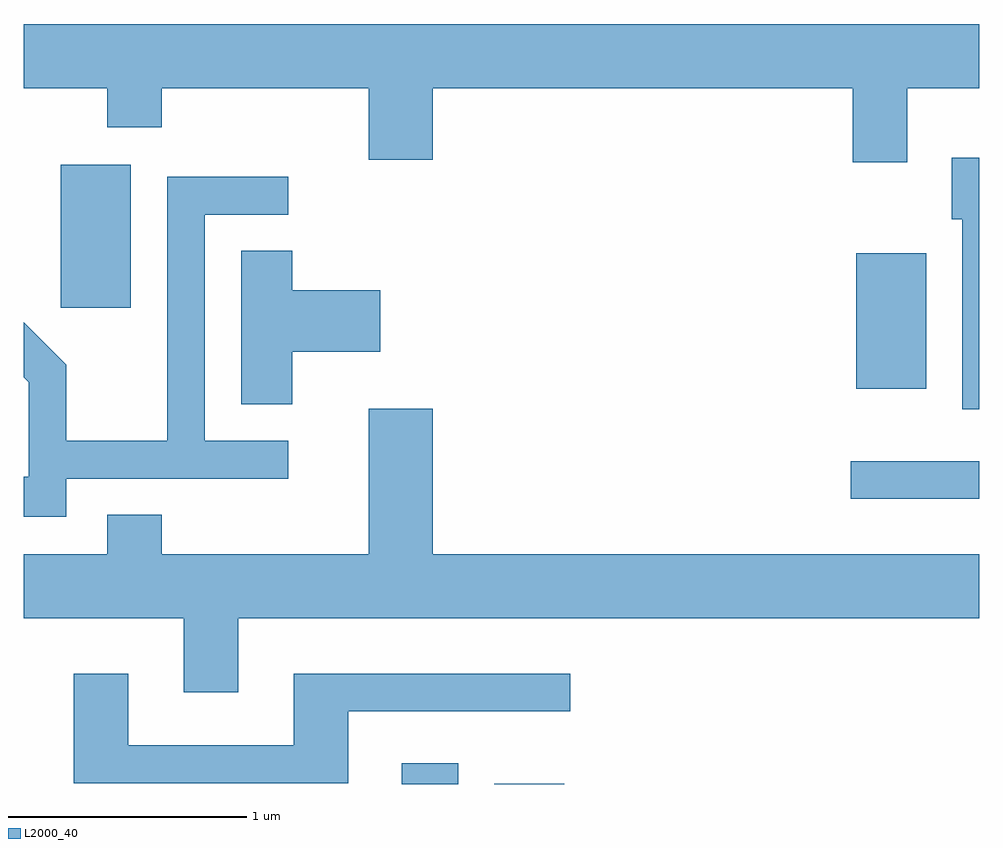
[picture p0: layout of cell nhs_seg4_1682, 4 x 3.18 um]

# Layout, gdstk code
import gdstk
lib = gdstk.Library(unit=1e-6, precision=1e-09)
def R(c, l, rs):  # rectangles x0, y0, x1, y1
    for r in rs: c.add(gdstk.rectangle(r[:2], r[2:], *l))
def P(c, l, *ps):  # polygons
    for p in ps: c.add(gdstk.Polygon(p, *l))
L2000_40 = (2000, 40)

nhs_seg4_1682 = lib.new_cell('nhs_seg4_1682')
R(nhs_seg4_1682, L2000_40, [(235.193,1353.982,235.429,1354.069), (235.581,1353.982,235.874,1353.984), (237.073,1355.176,237.611,1355.334), (237.096,1355.636,237.389,1356.204), (233.766,1355.976,234.059,1356.574)])
P(nhs_seg4_1682, L2000_40, [(237.309,1356.896),(237.611,1356.896),(237.611,1357.164),(233.611,1357.164),(233.611,1356.896),(233.961,1356.896),(233.961,1356.731),(234.189,1356.731),(234.189,1356.896),(235.056,1356.896),(235.056,1356.596),(235.324,1356.596),(235.324,1356.896),(237.081,1356.896),(237.081,1356.586),(237.309,1356.586)],
  [(237.611,1356.604),(237.496,1356.604),(237.496,1356.346),(237.541,1356.346),(237.541,1355.551),(237.611,1355.551)],
  [(233.789,1355.261),(234.718,1355.261),(234.718,1355.419),(234.369,1355.419),(234.369,1356.366),(234.718,1356.366),(234.718,1356.524),(234.211,1356.524),(234.211,1355.419),(233.789,1355.419),(233.789,1355.737),(233.611,1355.915),(233.611,1355.684),(233.631,1355.664),(233.631,1355.269),(233.611,1355.269),(233.611,1355.101),(233.789,1355.101)],
  [(234.734,1355.791),(235.104,1355.791),(235.104,1356.049),(234.734,1356.049),(234.734,1356.214),(234.521,1356.214),(234.521,1355.571),(234.734,1355.571)],
  [(234.509,1354.676),(237.611,1354.676),(237.611,1354.944),(235.324,1354.944),(235.324,1355.554),(235.056,1355.554),(235.056,1354.944),(234.189,1354.944),(234.189,1355.109),(233.961,1355.109),(233.961,1354.944),(233.611,1354.944),(233.611,1354.676),(234.281,1354.676),(234.281,1354.366),(234.509,1354.366)],
  [(234.969,1354.286),(235.898,1354.286),(235.898,1354.444),(234.741,1354.444),(234.741,1354.144),(234.049,1354.144),(234.049,1354.444),(233.821,1354.444),(233.821,1353.986),(234.969,1353.986)])

lib.write_gds('nhs_seg4_1682.gds')
